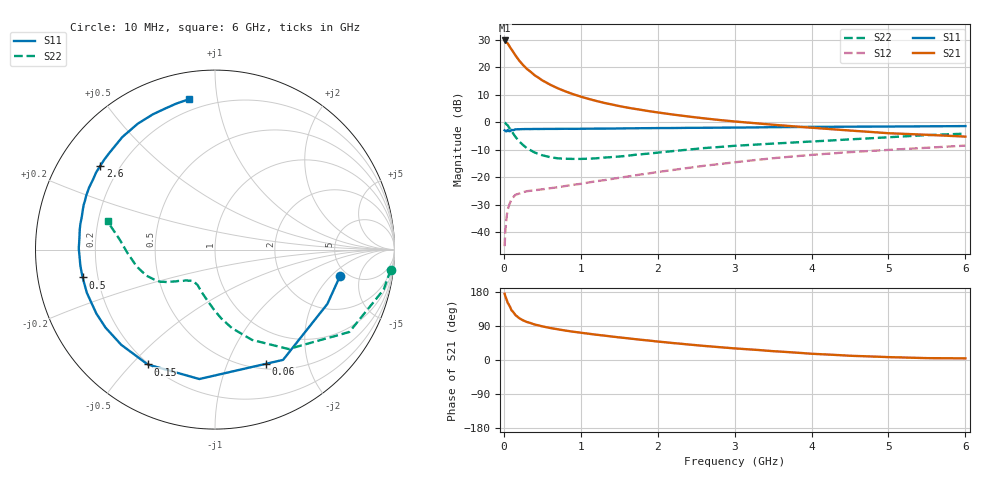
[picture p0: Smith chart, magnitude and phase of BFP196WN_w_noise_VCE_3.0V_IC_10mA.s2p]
! Infineon Technologies  Discrete & RF Semiconductors
! BFP196WN
! VCE =  3.0 V,  IC =  10 mA
! Common Emitter S-Parameters:  Jan 2017
# GHz  S  MA  R  50
!  f  S11  S21  S12  S22
! GHz  MAG  ANG  MAG  ANG  MAG  ANG  MAG  ANG
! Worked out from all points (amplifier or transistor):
!   77 points, 10 MHz to 6 GHz, reference 50 ohm
!   highest |S21| = 29.7 dB at 10 MHz (marker M1)
!   |S21| within 3 dB of that: start of sweep to 93.49 MHz
!   unconditionally stable (mu >= 1): 1.134 GHz to 2.684 GHz
!   at 130 MHz: K = 0.19, MSG = 26.1 dB, |S12| = -27.0 dB
!   at 2.2 GHz: K = 1.06, MAG = 8.6 dB, |S12| = -17.4 dB
!   at 6 GHz: K = 0.89, MSG = 1.6 dB, |S12| = -8.5 dB
!   lowest NFmin = 0.92 dB at 450 MHz
!   S11 on the Smith chart (normalised r, x): 10 MHz: 4.32, -2.59; 60 MHz: 0.56, -1.39; 150 MHz: 0.20, -0.56; 500 MHz: 0.14, -0.10; 2.6 GHz: 0.13, +0.32; 6 GHz: 0.14, +0.83
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0.01  0.7119 -12.0  30.5 174.8  0.0056 83.1  0.9853 -6.5
0.02  0.6955 -25.8  29.27 167.8  0.011 81.2  0.9659 -13.3
0.05  0.722 -58.3  27.07 151.1  0.0259 63.4  0.878 -31.5
0.06  0.6971 -65.8  25.64 147.9  0.0286 59.3  0.8319 -35.1
0.1  0.7264 -96.9  20.96 131.1  0.0402 48.7  0.6895 -53.5
0.15  0.7417 -120.4  16.41 118.7  0.0479 39.5  0.544 -67.7
0.2  0.7445 -134.6  13.14 110.4  0.0505 34.9  0.4477 -77.8
0.25  0.749 -144.6  10.91 104.6  0.0535 32.5  0.3843 -84.9
0.3  0.7509 -151.7  9.277 100.2  0.0558 31.4  0.3361 -90.8
0.4  0.7535 -161.4  7.121 93.6  0.058 32.0  0.2816 -99.5
0.5  0.7537 -168.1  5.747 88.7  0.0604 33.3  0.2506 -106.8
0.6  0.7554 -173.0  4.817 84.6  0.0631 35.0  0.2317 -112.1
0.7  0.7558 -177.0  4.133 81.1  0.0658 37.5  0.2206 -115.8
0.9  0.7578 176.4  3.225 74.7  0.0729 42.0  0.2152 -122.0
1.1  0.762 171.4  2.653 69.4  0.0802 46.0  0.2171 -126.8
1.5  0.7694 163.1  1.962 59.7  0.0978 51.6  0.2377 -133.9
2.1  0.7824 152.1  1.438 46.8  0.1299 56.4  0.2892 -142.1
2.6  0.7917 143.8  1.175 37.2  0.1611 57.0  0.3384 -148.0
3.1  0.7996 135.8  1.003 29.3  0.1935 55.8  0.3792 -154.1
4.1  0.8233 120.1  0.775 15.5  0.2607 49.9  0.4534 -169.9
5.1  0.835 108.3  0.622 7.1  0.3194 42.4  0.542 173.0
6  0.8498 100.0  0.547 4.3  0.3754 35.8  0.6192 165.2
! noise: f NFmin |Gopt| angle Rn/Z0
0.45  0.92  0.37  146  0.05
0.9  1.09  0.52  167  0.05
1.9  2.29  0.71  206  0.13
2.4  3.04  0.72  213  0.24
